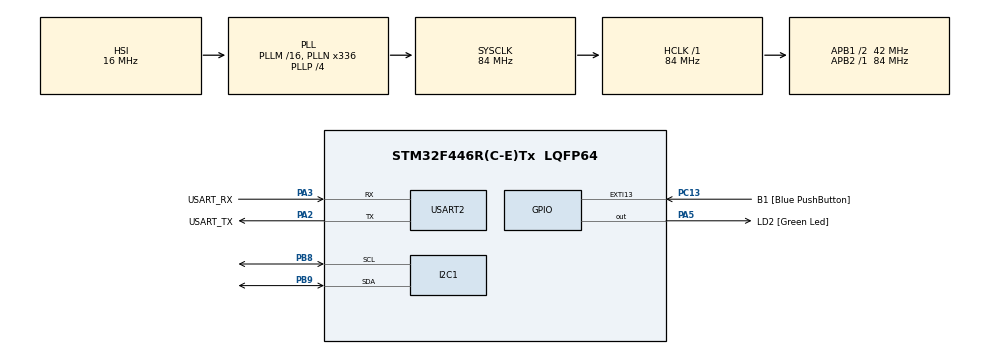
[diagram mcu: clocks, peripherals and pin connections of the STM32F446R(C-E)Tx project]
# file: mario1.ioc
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Mcu.Family=STM32F4
Mcu.Name=STM32F446R(C-E)Tx
Mcu.Package=LQFP64
NVIC.PriorityGroup=NVIC_PRIORITYGROUP_0
PA13.GPIO_Label=TMS
PA13.Mode=Serial_Wire
PA13.Signal=SYS_JTMS-SWDIO
PA14.GPIO_Label=TCK
PA14.Mode=Serial_Wire
PA14.Signal=SYS_JTCK-SWCLK
PA2.GPIO_Label=USART_TX
PA2.Mode=Asynchronous
PA2.Signal=USART2_TX
PA3.GPIO_Label=USART_RX
PA3.Mode=Asynchronous
PA3.Signal=USART2_RX
PA5.GPIO_Label=LD2 [Green Led]
PA5.Signal=GPIO_Output
PB3.GPIO_Label=SWO
PB3.Signal=SYS_JTDO-SWO
PB8.Mode=I2C
PB8.Signal=I2C1_SCL
PB9.Mode=I2C
PB9.Signal=I2C1_SDA
PC13.GPIO_Label=B1 [Blue PushButton]
PC13.GPIO_ModeDefaultEXTI=GPIO_MODE_IT_FALLING
PC13.Signal=GPXTI13
PC14-OSC32_IN.Mode=LSE-External-Oscillator
PC14-OSC32_IN.Signal=RCC_OSC32_IN
PC15-OSC32_OUT.Mode=LSE-External-Oscillator
PC15-OSC32_OUT.Signal=RCC_OSC32_OUT
PH0-OSC_IN.Mode=HSE-External-Oscillator
PH0-OSC_IN.Signal=RCC_OSC_IN
PH1-OSC_OUT.Mode=HSE-External-Oscillator
PH1-OSC_OUT.Signal=RCC_OSC_OUT
ProjectManager.HeapSize=0x200
ProjectManager.StackSize=0x400
ProjectManager.TargetToolchain=STM32CubeIDE
RCC.48MHZClocksFreq_Value=84000000
RCC.AHBFreq_Value=84000000
RCC.APB1CLKDivider=RCC_HCLK_DIV2
RCC.APB1Freq_Value=42000000
RCC.APB1TimFreq_Value=84000000
RCC.APB2Freq_Value=84000000
RCC.APB2TimFreq_Value=84000000
RCC.CortexFreq_Value=84000000
RCC.FLatency-AdvancedSettings=FLASH_LATENCY_2
RCC.HCLKFreq_Value=84000000
RCC.HSE_VALUE=8000000
RCC.HSI_VALUE=16000000
RCC.PLLN=336
RCC.PLLP=RCC_PLLP_DIV4
RCC.SYSCLKFreq_VALUE=84000000
RCC.SYSCLKSource=RCC_SYSCLKSOURCE_PLLCLK
RCC.USBFreq_Value=168000000
RCC.VCOOutputFreq_Value=336000000
USART2.VirtualMode=VM_ASYNC
board=NUCLEO-F446RE

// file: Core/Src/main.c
/* USER CODE BEGIN Header */
/**
  ******************************************************************************
  * @file           : main.c
  * @brief          : Main program body
  ******************************************************************************
  * @attention
  *
  * Copyright (c) 2024 STMicroelectronics.
  * All rights reserved.
  *
  * This software is licensed under terms that can be found in the LICENSE file
  * in the root directory of this software component.
  * If no LICENSE file comes with this software, it is provided AS-IS.
  *
  ******************************************************************************
  */
/* USER CODE END Header */
#include "main.h"

/* USER CODE BEGIN Includes */
#include "liquidcrystal_i2c.h"
#include "time.h"
/* USER CODE END Includes */

I2C_HandleTypeDef hi2c1;

UART_HandleTypeDef huart2;

void SystemClock_Config(void);
static void MX_GPIO_Init(void);
static void MX_USART2_UART_Init(void);
static void MX_I2C1_Init(void);

/* USER CODE BEGIN 0 */
int x=0;
void stampa(int elem[],time_t now,int moob2[]);
void spersonaggio(int A);
int verifica(int elem[],int A,int deel,int moob2[]);
int updatea(int elem[],int c1);
int updatea2(int elem[],int c2,int moob[]);
/* USER CODE END 0 */

int main(void)
{
  /* USER CODE BEGIN 1 */
	GPIO_PinState GPIO_state;

	 time_t now=time(NULL);

  /* USER CODE END 1 */

  /* MCU Configuration--------------------------------------------------------*/

  /* Reset of all peripherals, Initializes the Flash interface and the Systick. */
  HAL_Init();

  /* Configure the system clock */
  SystemClock_Config();

  /* Initialize all configured peripherals */
  MX_GPIO_Init();
  MX_USART2_UART_Init();
  MX_I2C1_Init();
  /* USER CODE BEGIN 2 */

  HD44780_Init(4);
  HD44780_Clear();
  HD44780_SetCursor(0,0);
  HD44780_PrintStr("HELLO");
  HD44780_SetCursor(10,1);
  HD44780_PrintStr("WORLD");
  HD44780_SetCursor(0,3);
  HD44780_PrintStr("____________________");
  HAL_Delay(2000);

  /* USER CODE END 2 */

  /* Infinite loop */
  /* USER CODE BEGIN WHILE */
  while (1)
  {
	  int A=1;
	 	  int elem[23]={0,0,0,0,0,0,0,0,0,0,0,0,0,0,0,0,0,0,0,0,0,0,0};
	 	  int moob2[23]={0,0,0,0,0,0,0,0,0,0,0,0,0,0,0,0,0,0,0,0,0,0,0};

	 	  int deel=0;
	 	  int c1=0,c2=0,c3=0,c4=0;

	 	  srand((unsigned) time(&now));

	 		  for ( int x = 400; x >= 1 ; x-- )
	          {
	 			  	  char n=NULL;
	 			  	  int a,b,c;
	   //---------------------------------------------------------------
	    //stampa ostacoli

	 		 HD44780_Clear();
	     	 stampa(elem,now,moob2);

	   //---------------------------------------------------------------
	     //stampa personaggio

	     	 GPIO_state=HAL_GPIO_ReadPin(GPIOC, GPIO_PIN_13);
	     	           if(GPIO_state == GPIO_PIN_SET){
	     	        	  A=1;

	     	        	  spersonaggio(A);

	     	           }
	     	           else {
	     	        	  A=0;
	     	        	  spersonaggio(A);
	     	           }
	     	           HD44780_SetCursor(0,4);
	     	           HD44780_PrintStr("--------------------");

	     	           c1=updatea(elem, c1);
	     	           c1++;
	     	           c2++;
	     	           c2=updatea2(elem,c2,moob2);
	     	 HAL_Delay (500-deel);
	   //----------------------------------------------------------------
	     //GAME OVER --

	     	 if(c2%5==0 && deel<450){
	     		 deel=deel+10;
	     	 }
	     	 c3=verifica(elem,A,deel,moob2);
	     	 /*if(c3==1){
	     		 deel=0;

	     	 }*/

	   //----------------------------------------------------------------
	     	 	 if(x==2){

	     	 		 	 	HD44780_Clear();
	     	 				HD44780_SetCursor(10,0);
	     	 				HD44780_PrintStr("YOU");
	     	 				HD44780_SetCursor(10,1);
	     	 				HD44780_PrintStr("WIN XD");
	     	 				HAL_Delay (2000);
	     	 	 }

	          }
	      HD44780_Clear();
	 	  }
    /* USER CODE END WHILE */

}

void SystemClock_Config(void)
{
  RCC_OscInitTypeDef RCC_OscInitStruct = {0};
  RCC_ClkInitTypeDef RCC_ClkInitStruct = {0};

  /** Configure the main internal regulator output voltage
  */
  __HAL_RCC_PWR_CLK_ENABLE();
  __HAL_PWR_VOLTAGESCALING_CONFIG(PWR_REGULATOR_VOLTAGE_SCALE3);

  /** Initializes the RCC Oscillators according to the specified parameters
  * in the RCC_OscInitTypeDef structure.
  */
  RCC_OscInitStruct.OscillatorType = RCC_OSCILLATORTYPE_HSI;
  RCC_OscInitStruct.HSIState = RCC_HSI_ON;
  RCC_OscInitStruct.HSICalibrationValue = RCC_HSICALIBRATION_DEFAULT;
  RCC_OscInitStruct.PLL.PLLState = RCC_PLL_ON;
  RCC_OscInitStruct.PLL.PLLSource = RCC_PLLSOURCE_HSI;
  RCC_OscInitStruct.PLL.PLLM = 16;
  RCC_OscInitStruct.PLL.PLLN = 336;
  RCC_OscInitStruct.PLL.PLLP = RCC_PLLP_DIV4;
  RCC_OscInitStruct.PLL.PLLQ = 2;
  RCC_OscInitStruct.PLL.PLLR = 2;
  if (HAL_RCC_OscConfig(&RCC_OscInitStruct) != HAL_OK)
  {
    Error_Handler();
  }

  /** Initializes the CPU, AHB and APB buses clocks
  */
  RCC_ClkInitStruct.ClockType = RCC_CLOCKTYPE_HCLK|RCC_CLOCKTYPE_SYSCLK
                              |RCC_CLOCKTYPE_PCLK1|RCC_CLOCKTYPE_PCLK2;
  RCC_ClkInitStruct.SYSCLKSource = RCC_SYSCLKSOURCE_PLLCLK;
  RCC_ClkInitStruct.AHBCLKDivider = RCC_SYSCLK_DIV1;
  RCC_ClkInitStruct.APB1CLKDivider = RCC_HCLK_DIV2;
  RCC_ClkInitStruct.APB2CLKDivider = RCC_HCLK_DIV1;

  if (HAL_RCC_ClockConfig(&RCC_ClkInitStruct, FLASH_LATENCY_2) != HAL_OK)
  {
    Error_Handler();
  }
}

static void MX_I2C1_Init(void)
{

  hi2c1.Instance = I2C1;
  hi2c1.Init.ClockSpeed = 100000;
  hi2c1.Init.DutyCycle = I2C_DUTYCYCLE_2;
  hi2c1.Init.OwnAddress1 = 0;
  hi2c1.Init.AddressingMode = I2C_ADDRESSINGMODE_7BIT;
  hi2c1.Init.DualAddressMode = I2C_DUALADDRESS_DISABLE;
  hi2c1.Init.OwnAddress2 = 0;
  hi2c1.Init.GeneralCallMode = I2C_GENERALCALL_DISABLE;
  hi2c1.Init.NoStretchMode = I2C_NOSTRETCH_DISABLE;
  if (HAL_I2C_Init(&hi2c1) != HAL_OK)
  {
    Error_Handler();
  }

}

static void MX_USART2_UART_Init(void)
{

  huart2.Instance = USART2;
  huart2.Init.BaudRate = 115200;
  huart2.Init.WordLength = UART_WORDLENGTH_8B;
  huart2.Init.StopBits = UART_STOPBITS_1;
  huart2.Init.Parity = UART_PARITY_NONE;
  huart2.Init.Mode = UART_MODE_TX_RX;
  huart2.Init.HwFlowCtl = UART_HWCONTROL_NONE;
  huart2.Init.OverSampling = UART_OVERSAMPLING_16;
  if (HAL_UART_Init(&huart2) != HAL_OK)
  {
    Error_Handler();
  }

}

static void MX_GPIO_Init(void)
{
  GPIO_InitTypeDef GPIO_InitStruct = {0};

  /* GPIO Ports Clock Enable */
  __HAL_RCC_GPIOC_CLK_ENABLE();
  __HAL_RCC_GPIOH_CLK_ENABLE();
  __HAL_RCC_GPIOA_CLK_ENABLE();
  __HAL_RCC_GPIOB_CLK_ENABLE();

  /*Configure GPIO pin Output Level */
  HAL_GPIO_WritePin(LD2_GPIO_Port, LD2_Pin, GPIO_PIN_RESET);

  /*Configure GPIO pin : B1_Pin */
  GPIO_InitStruct.Pin = B1_Pin;
  GPIO_InitStruct.Mode = GPIO_MODE_IT_FALLING;
  GPIO_InitStruct.Pull = GPIO_NOPULL;
  HAL_GPIO_Init(B1_GPIO_Port, &GPIO_InitStruct);

  /*Configure GPIO pin : LD2_Pin */
  GPIO_InitStruct.Pin = LD2_Pin;
  GPIO_InitStruct.Mode = GPIO_MODE_OUTPUT_PP;
  GPIO_InitStruct.Pull = GPIO_NOPULL;
  GPIO_InitStruct.Speed = GPIO_SPEED_FREQ_LOW;
  HAL_GPIO_Init(LD2_GPIO_Port, &GPIO_InitStruct);

}

/* USER CODE BEGIN 4 */
void stampa(int elem[],time_t now,int moob2[]){

	for(int i=0;i<23;i++){
		if(elem[i]==1&&i<20){
		    	HD44780_SetCursor(i,2);
		    	HD44780_PrintSpecialChar(7);;
		}
		if(moob2[i]==1&&i<20){
				    	HD44780_SetCursor(i,0);
				    	HD44780_PrintSpecialChar(0);
				}
		if(i<22 /*&& elem[i]==1 && elem[i+1]==0*/){
			elem[i]=elem[i+1];
			moob2[i]=moob2[i+1];
		}
	}

	elem[22]=0;
	moob2[22]=0;

}

int verifica(int elem[],int A,int deel,int moob2[]){
	if((elem[1]==1 && A==1) ||(moob2[1]==1 && A==0) ){
		HD44780_Clear();
		HD44780_SetCursor(10,0);
		HD44780_PrintStr("GAME");
		HD44780_SetCursor(10,1);
		HD44780_PrintStr("OVER");
		HAL_Delay (2000);
		for(int i=0;i<23;i++){
			elem[i]=0;
			moob2[i]=0;
		}
		deel=0;
	}
	return 1;
}

void spersonaggio(int A){
						  HD44780_SetCursor(0,A);
	    	        	  HD44780_PrintSpecialChar(1);
	    	        	  HD44780_SetCursor(1,A);
	    	        	  HD44780_PrintSpecialChar(2);
	    	        	  HD44780_SetCursor(2,A);
	    	        	  HD44780_PrintSpecialChar(3);
	    	        	  HD44780_SetCursor(0,A+1);
	    	        	  HD44780_PrintSpecialChar(4);
	    	        	  HD44780_SetCursor(1,A+1);
	    	        	  HD44780_PrintSpecialChar(5);
	    	        	  HD44780_SetCursor(2,A+1);
	    	        	  HD44780_PrintSpecialChar(6);

}

int updatea(int elem[],int c1){

    int y=0;
    y = rand()%6;
	  //printf("numero random : %d",y);
	  if(c1==5){
      //printf("condizione ...\n");
      c1=0;
      switch(y){
       case 0:
          elem[20]=0;
          elem[21]=1;
          elem[22]=0;
       break;

        case 1:
          elem[20]=1;
          elem[21]=1;
          elem[22]=0;
        break;

        case 2:
          elem[20]=1;
          elem[21]=1;
          elem[22]=1;
        break;
        case 3:
          elem[20]=1;
          elem[21]=0;
          elem[22]=1;
        break;
        case 4:
          elem[20]=0;
          elem[21]=1;
          elem[22]=1;
       break;
       case 5:
          elem[20]=1;
          elem[21]=0;
          elem[22]=0;
       break;
       default:
          elem[20]=0;
          elem[21]=0;
          elem[22]=0;
      }
	 }
    return c1;
}

int updatea2(int elem[],int c2,int moob[]){

    for(int i=0;i<16;i++){
        if(elem[i]==0 && elem[i+1]==0 && elem[i+2]==0){
          moob[i]=0;
          moob[i+1]=1;
          moob[i+2]=0;
        }
        if(elem[i]==1&&moob[i]==1){
          moob[i]=0;
        }

    }
    return c2;
}

/* USER CODE END 4 */

void Error_Handler(void)
{
  __disable_irq();
  while (1)
  {
  }
}
